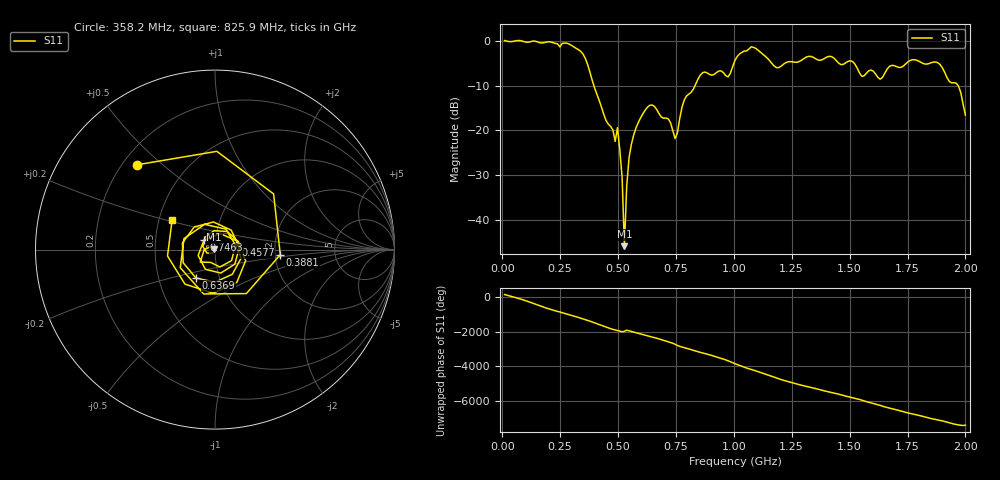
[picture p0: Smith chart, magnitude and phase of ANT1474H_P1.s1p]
!Created with skrf (http://scikit-rf.org).
# Hz S RI R 50.0
!freq ReS11 ImS11
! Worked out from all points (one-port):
!   201 points, 10 MHz to 2 GHz, reference 50 ohm
!   lowest |S11| = -45.9 dB at 527.4 MHz (marker M1), VSWR 1.01, Z = 49.5 + j0.0777 ohm
!   |S11| at or under -10 dB: 395.5 MHz to 832.4 MHz (437 MHz wide, 71.2 % of centre); 1.969 GHz to end of sweep
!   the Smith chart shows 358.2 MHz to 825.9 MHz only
!   S11 on the Smith chart (normalised r, x): 358.2 MHz: 0.26, +0.42; 388.1 MHz: 2.14, -0.14; 457.8 MHz: 1.26, +0.06; 636.9 MHz: 0.77, -0.25; 746.3 MHz: 0.88, +0.09; 825.9 MHz: 0.59, +0.21
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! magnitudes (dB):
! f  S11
! 10 MHz  0.1
! 258.8 MHz  -0.6
! 358.2 MHz  -3.9
! 388.1 MHz  -8.8
! 457.8 MHz  -18.6
! 487.6 MHz  -22.5
! 497.6 MHz  -19.4
! 507.5 MHz  -24.4
! 517.5 MHz  -30.5
! 527.4 MHz  -45.9
! 537.4 MHz  -32.5
! 557.2 MHz  -23.2
! 636.9 MHz  -14.4
! 746.3 MHz  -21.8
! 756.2 MHz  -20.6
! 786.1 MHz  -13.2
! 825.9 MHz  -10.7
! 865.7 MHz  -7.1
! 975.1 MHz  -8.0
! 1.005 GHz  -4.4
! 1.075 GHz  -1.3
! 1.254 GHz  -4.7
! 1.502 GHz  -4.4
! 1.632 GHz  -8.6
! 1.751 GHz  -4.7
! 1.891 GHz  -5.3
! 1.97 GHz  -10.1
! 2 GHz  -16.6
